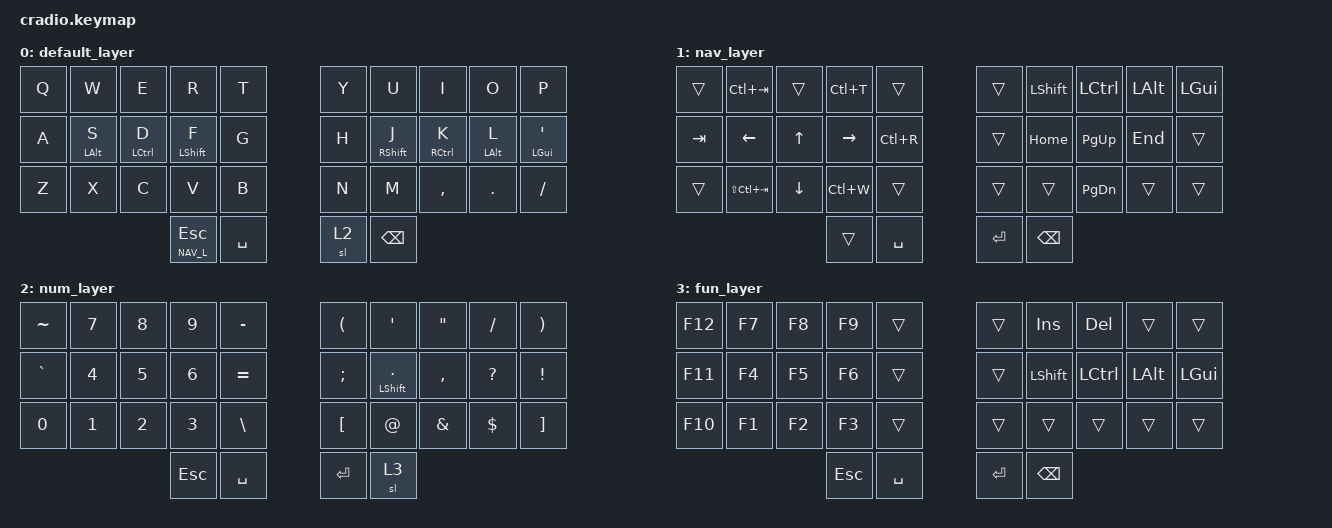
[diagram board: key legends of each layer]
/*
 * Copyright (c) 2020 The ZMK Contributors
 *
 * SPDX-License-Identifier: MIT
 */

#include <behaviors.dtsi>
#include <dt-bindings/zmk/keys.h>
#include <dt-bindings/zmk/bt.h>

#define DEFAULT 0
#define NAV_L 1
#define NUM_L 2
#define FUN_L 3

// Using layer taps on thumbs, having quick tap as well helps w/ repeating space/backspace
&lt { quick_tap_ms = <250>; };

&caps_word {
    continue-list = <UNDERSCORE MINUS>;
};

/ {
    behaviors {
        hm: homerow_mods {
            compatible = "zmk,behavior-hold-tap";
            label = "homerow mods";
            #binding-cells = <2>;
            tapping_term_ms = <250>;
            flavor = "tap-preferred";
            bindings = <&kp>, <&kp>;
        };
    };

    combos {
        compatible = "zmk,combos";
        combo_caps_word {
            timeout-ms = <50>;
            key-positions = <13 16>;
            layers = <0>;
            bindings = <&caps_word>;
        };
        combo_ble_prv {
            timeout-ms = <50>;
            key-positions = <25 7>;
            layers = <0>;
            bindings = <&kp BT_PRV>;
        };
        combo_ble_nxt {
            timeout-ms = <50>;
            key-positions = <25 8>;
            layers = <0>;
            bindings = <&kp BT_NXT>;
        };
        combo_ble_clr {
            timeout-ms = <50>;
            key-positions = <25 9>;
            layers = <0>;
            bindings = <&kp BT_CLR>;
        };
    };
    
    keymap {
        compatible = "zmk,keymap";

        default_layer {
            bindings = <
                &kp Q      &kp W      &kp E       &kp R          &kp T         &kp Y            &kp U          &kp I       &kp O      &kp P
                &kp A      &hm LALT S &hm LCTRL D &hm LSHFT F    &kp G         &kp H            &hm RSHFT J    &hm RCTRL K &hm LALT L &hm LGUI QUOT
                &kp Z      &kp X      &kp C       &kp V          &kp B         &kp N            &kp M          &kp COMMA   &kp DOT    &kp FSLH
                                                  &lt NAV_L ESC  &kp SPACE     &sl 2            &kp BKSP
            >;
        };

        nav_layer {
            bindings = <
                &trans       &kp LC(TAB)      &trans      &kp LC(T)       &trans       &trans           &kp LSHFT      &kp LCTRL   &kp LALT   &kp LGUI
                &kp TAB      &kp LEFT         &kp UP      &kp RIGHT       &kp LC(R)    &trans           &kp HOME       &kp PG_UP   &kp END    &trans
                &trans       &kp LS(LC(TAB))  &kp DOWN    &kp LC(W)       &trans       &trans           &trans         &kp PG_DN   &trans     &trans
                                                          &trans          &kp SPACE    &kp ENTER        &kp BKSP
            >;
        };

        num_layer {
            bindings = <
                &kp TILDE   &kp N7     &kp N8      &kp N9          &kp MINUS     &kp LPAR     &kp SQT       &kp DQT   &kp SLASH   &kp RPAR
                &kp GRAVE   &kp N4     &kp N5      &kp N6          &kp EQUAL     &kp SEMI     &hm LSHFT DOT &kp COMMA &kp QMARK   &kp EXCL
                &kp N0      &kp N1     &kp N2      &kp N3          &kp BSLH      &kp LBKT     &kp AT        &kp AMPS  &kp DLLR    &kp RBKT
                                                   &kp ESC         &kp SPACE     &kp ENTER    &sl 3
            >;
        };

        fun_layer {
            bindings = <
                &kp F12     &kp F7  &kp F8  &kp F9   &trans     &trans      &kp INS     &kp DEL     &trans    &trans
                &kp F11     &kp F4  &kp F5  &kp F6   &trans     &trans      &kp LSHFT   &kp LCTL    &kp LALT  &kp LGUI
                &kp F10     &kp F1  &kp F2  &kp F3   &trans     &trans      &trans      &trans      &trans    &trans
                                                     &kp ESC    &kp SPACE   &kp ENTER   &kp BKSP
            >;
        };
    };
};
